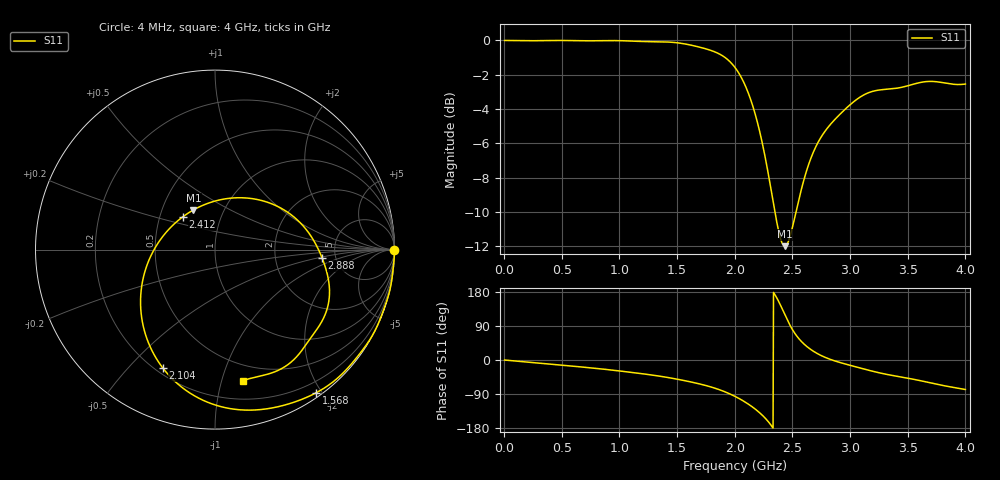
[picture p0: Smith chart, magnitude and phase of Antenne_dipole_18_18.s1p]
! TOUCHSTONE file generated by CST MICROWAVE STUDIO
! Date and time: Wed May  4 10:48:37 2022
! Project name: Antenne_dipole.cst
! Parameters = {ls=100; ws=30; h=1.6; wl=0.2; i=0.5; l1=7.65306; e=0.035; L=40}
! Header version: 2018
! Port assignment regex: !\s*Touchstone port\s*([0-9]+)\s*=\s*(CST MWS port|CST DS port)\s*([0-9]+|Zmin|Zmax)\s*\(\"(.*)\"\)(\s*mode\s*([0-9]+))?.*
! Touchstone port assignment:
! Touchstone port 1 = CST MWS port 1 ("")
# GHz S MA R 50
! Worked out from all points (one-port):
!   1000 points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, 4 MHz to 4 GHz, reference 50 ohm
!   lowest |S11| = -12.0 dB at 2.436 GHz (marker M1), VSWR 1.67, Z = 35.9 + j16.9 ohm
!   |S11| at or under -10 dB: 2.348 GHz to 2.531 GHz (182.4 MHz wide, 7.48 % of centre)
!   S11 on the Smith chart (normalised r, x): 4 MHz: open; 1.568 GHz: 0.06, -1.93; 2.104 GHz: 0.23, -0.63; 2.412 GHz: 0.66, +0.26; 2.888 GHz: 3.89, -0.55; 4 GHz: 0.36, -1.17
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0.004  1 -0.1
0.504  0.9999 -13.6
1.004  0.9985 -29.0
1.304  0.9916 -40.6
1.504  0.9842 -50.8
1.568  0.9769 -54.6
1.724  0.9505 -65.3
1.848  0.9197 -76.4
1.932  0.8832 -86.1
2.004  0.8324 -96.3
2.056  0.7809 -104.8
2.104  0.7214 -113.7
2.184  0.5984 -131.1
2.256  0.4708 -150.9
2.328  0.3464 -177.9
2.412  0.2561 134.6
2.436  0.2515 118.6
2.504  0.289 78.3
2.584  0.3754 47.0
2.684  0.4748 22.7
2.772  0.5375 8.5
2.888  0.5981 -4.4
3.004  0.6513 -14.4
3.12  0.6942 -23.8
3.244  0.7164 -33.2
3.504  0.7384 -48.2
3.732  0.759 -62.6
4  0.7464 -77.9
